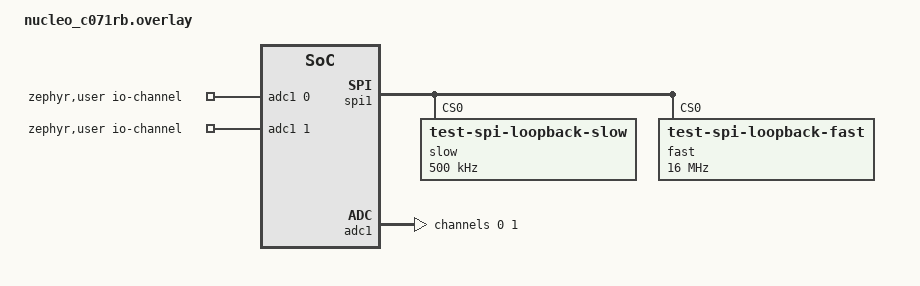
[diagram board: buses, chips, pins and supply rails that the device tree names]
/*
 * Copyright (c) 2025 STMicroelectronics
 *
 * SPDX-License-Identifier: Apache-2.0
 */

tst_dma0: &dma1 {
	status = "okay";
};

&spi1 {
	dmas = <&dmamux1 2 17 (STM32_DMA_PERIPH_TX | STM32_DMA_PRIORITY_HIGH)>,
	       <&dmamux1 1 16 (STM32_DMA_PERIPH_RX | STM32_DMA_PRIORITY_HIGH)>;
	dma-names = "tx", "rx";
	slow@0 {
		compatible = "test-spi-loopback-slow";
		reg = <0>;
		spi-max-frequency = <500000>;
	};
	fast@0 {
		compatible = "test-spi-loopback-fast";
		reg = <0>;
		spi-max-frequency = <16000000>;
	};
};

&dma1 {
	status = "okay";
};

&dmamux1 {
	status = "okay";
};

/ {
	zephyr,user {
		io-channels = <&adc1 0>, <&adc1 1>;
	};
};

&adc1 {
	dmas = <&dmamux1 0 5 (STM32_DMA_PERIPH_RX | STM32_DMA_MEM_16BITS |
			      STM32_DMA_PERIPH_16BITS)>;
	dma-names = "dmamux";
	#address-cells = <1>;
	#size-cells = <0>;
	channel@0 {
		reg = <0>;
		zephyr,gain = "ADC_GAIN_1";
		zephyr,reference = "ADC_REF_INTERNAL";
		zephyr,acquisition-time = <ADC_ACQ_TIME_MAX>;
		zephyr,resolution = <12>;
	};
	channel@1 {
		reg = <1>;
		zephyr,gain = "ADC_GAIN_1";
		zephyr,reference = "ADC_REF_INTERNAL";
		zephyr,acquisition-time = <ADC_ACQ_TIME_MAX>;
		zephyr,resolution = <12>;
	};
};
